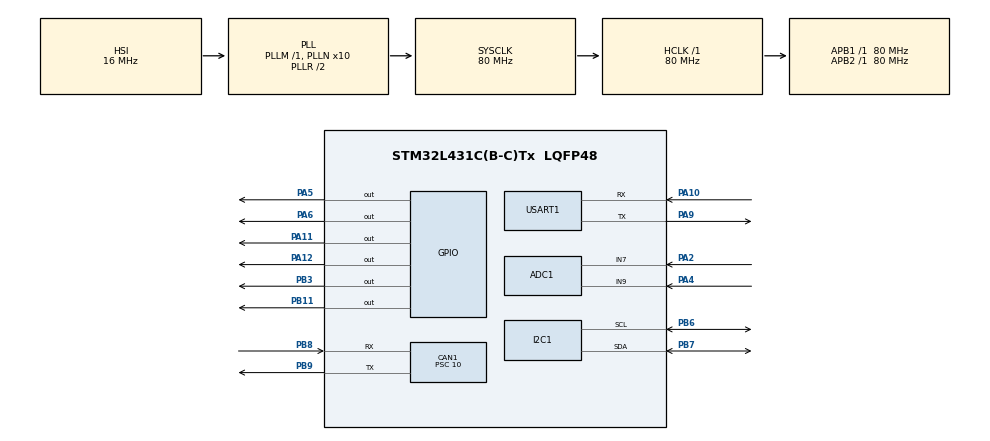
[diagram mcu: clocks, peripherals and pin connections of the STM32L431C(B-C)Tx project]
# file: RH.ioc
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ADC1.Channel-0\#ChannelRegularConversion=ADC_CHANNEL_9
ADC1.NbrOfConversionFlag=1
ADC1.OffsetNumber-0\#ChannelRegularConversion=ADC_OFFSET_NONE
ADC1.OversamplingMode=ENABLE
ADC1.Rank-0\#ChannelRegularConversion=1
ADC1.Ratio=ADC_OVERSAMPLING_RATIO_16
ADC1.RightBitShift=ADC_RIGHTBITSHIFT_4
ADC1.SamplingTime-0\#ChannelRegularConversion=ADC_SAMPLETIME_2CYCLES_5
ADC1.master=1
CAN1.ABOM=ENABLE
CAN1.AWUM=ENABLE
CAN1.BS1=CAN_BS1_12TQ
CAN1.BS2=CAN_BS2_3TQ
CAN1.CalculateBaudRate=500000
CAN1.CalculateTimeBit=2000
CAN1.CalculateTimeQuantum=125.0
CAN1.NART=ENABLE
CAN1.Prescaler=10
CAN1.TXFP=ENABLE
I2C1.Timing=0x10D19CE4
Mcu.Family=STM32L4
Mcu.Name=STM32L431C(B-C)Tx
Mcu.Package=LQFP48
NVIC.CAN1_RX0_IRQn=true\:0\:0\:false\:false\:true\:true\:true\:true
NVIC.CAN1_RX1_IRQn=true\:0\:0\:false\:false\:true\:true\:true\:true
NVIC.CAN1_SCE_IRQn=true\:0\:0\:false\:false\:true\:true\:true\:true
NVIC.CAN1_TX_IRQn=true\:0\:0\:false\:false\:true\:true\:true\:true
NVIC.PriorityGroup=NVIC_PRIORITYGROUP_4
NVIC.TIM2_IRQn=true\:0\:0\:false\:false\:true\:true\:true\:true
PA10.Mode=Asynchronous
PA10.Signal=USART1_RX
PA11.Signal=GPIO_Output
PA12.Signal=GPIO_Output
PA2.Signal=ADCx_IN7
PA4.Signal=ADCx_IN9
PA5.Signal=GPIO_Output
PA6.Signal=GPIO_Output
PA9.Mode=Asynchronous
PA9.Signal=USART1_TX
PB11.Signal=GPIO_Output
PB3\ (JTDO-TRACESWO).Signal=GPIO_Output
PB6.Mode=I2C
PB6.Signal=I2C1_SCL
PB7.Mode=I2C
PB7.Signal=I2C1_SDA
PB8.Mode=CAN_Activate
PB8.Signal=CAN1_RX
PB9.Mode=CAN_Activate
PB9.Signal=CAN1_TX
ProjectManager.HeapSize=0x200
ProjectManager.StackSize=0x400
ProjectManager.TargetToolchain=STM32CubeIDE
RCC.ADCFreq_Value=64000000
RCC.AHBFreq_Value=80000000
RCC.APB1Freq_Value=80000000
RCC.APB1TimFreq_Value=80000000
RCC.APB2Freq_Value=80000000
RCC.APB2TimFreq_Value=80000000
RCC.CortexFreq_Value=80000000
RCC.HCLKFreq_Value=80000000
RCC.HSE_VALUE=8000000
RCC.HSI48_VALUE=48000000
RCC.HSI_VALUE=16000000
RCC.LSE_VALUE=32768
RCC.MSI_VALUE=4000000
RCC.PLLN=10
RCC.PLLSourceVirtual=RCC_PLLSOURCE_HSI
RCC.SYSCLKFreq_VALUE=80000000
RCC.SYSCLKSource=RCC_SYSCLKSOURCE_PLLCLK
RCC.VCOOutputFreq_Value=160000000
SH.ADCx_IN7.0=ADC1_IN7,IN7-Single-Ended
SH.ADCx_IN9.0=ADC1_IN9,IN9-Single-Ended
TIM2.AutoReloadPreload=TIM_AUTORELOAD_PRELOAD_ENABLE
TIM2.Period=9
TIM2.Prescaler=3999
USART1.VirtualMode-Asynchronous=VM_ASYNC
VP_TIM2_VS_ClockSourceINT.Mode=Internal
board=custom

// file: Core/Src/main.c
/* USER CODE BEGIN Header */
/**
  ******************************************************************************
  * @file           : main.c
  * @brief          : Main program body
  ******************************************************************************
  * @attention
  *
  * Copyright (c) 2026 STMicroelectronics.
  * All rights reserved.
  *
  * This software is licensed under terms that can be found in the LICENSE file
  * in the root directory of this software component.
  * If no LICENSE file comes with this software, it is provided AS-IS.
  *
  ******************************************************************************
  */
/* USER CODE END Header */
#include "main.h"

/* USER CODE BEGIN Includes */
#include <stdio.h>
#include <string.h>
#include "vl53l0x_api.h"
#include "can_fifo.h"
/* USER CODE END Includes */

ADC_HandleTypeDef hadc1;

CAN_HandleTypeDef hcan1;

I2C_HandleTypeDef hi2c1;

TIM_HandleTypeDef htim2;

UART_HandleTypeDef huart1;

/* USER CODE BEGIN PV */
volatile uint8_t timer_10hz_flag = 0;

CircularFIFO my_fifo;

PackedCANMSG msg_buffer[64];
/* USER CODE END PV */

void SystemClock_Config(void);
static void MX_GPIO_Init(void);
static void MX_ADC1_Init(void);
static void MX_USART1_UART_Init(void);
static void MX_I2C1_Init(void);
static void MX_CAN1_Init(void);
static void MX_TIM2_Init(void);

int main(void)
{

  /* MCU Configuration--------------------------------------------------------*/

  /* Reset of all peripherals, Initializes the Flash interface and the Systick. */
  HAL_Init();

  /* Configure the system clock */
  SystemClock_Config();

  /* Initialize all configured peripherals */
  MX_GPIO_Init();
  MX_ADC1_Init();
  MX_USART1_UART_Init();
  MX_I2C1_Init();
  MX_CAN1_Init();
  MX_TIM2_Init();
  /* USER CODE BEGIN 2 */
  HAL_Delay(100);

  CAN_TxHeaderTypeDef txHeader;
  txHeader.StdId = 0x404;
  txHeader.IDE = CAN_ID_STD;
  txHeader.RTR = CAN_RTR_DATA; // Data frame (not remote)
  txHeader.DLC = 2; // 8 data bytes
  txHeader.TransmitGlobalTime = DISABLE; // TTCM disabled → must be DISABLE

  uint32_t txMailbox;
  PackedCANMSG pack;
  uint8_t dequeued = 0;

  VL53L0X_Dev_t MyDevice;
  VL53L0X_DEV Dev = &MyDevice;
  Dev->I2cDevAddr = 0x52;

  char msg[64];
  int len;

  len = sprintf(msg, "Initializing Sensor...\r\n");
  HAL_UART_Transmit(&huart1, (uint8_t*)msg, len, 100);

  VL53L0X_DataInit(Dev);
  VL53L0X_StaticInit(Dev);

  uint32_t refSpadCount;
  uint8_t isApertureSpads;
  uint8_t VhvSettings;
  uint8_t PhaseCal;

  VL53L0X_PerformRefSpadManagement(Dev, &refSpadCount, &isApertureSpads);
  VL53L0X_PerformRefCalibration(Dev, &VhvSettings, &PhaseCal);

  VL53L0X_SetMeasurementTimingBudgetMicroSeconds(Dev, 33000);
  VL53L0X_SetDeviceMode(Dev, VL53L0X_DEVICEMODE_CONTINUOUS_RANGING);
  VL53L0X_StartMeasurement(Dev);

  len = sprintf(msg, "VL53L0X Init Complete! Running at 10Hz.\r\n");
  HAL_UART_Transmit(&huart1, (uint8_t*)msg, len, 100);

  // Start the 10Hz timer

  fifo_init(&my_fifo, msg_buffer, 64);

  HAL_TIM_Base_Start_IT(&htim2);
  HAL_CAN_Start(&hcan1);

  CAN_FilterTypeDef filterConfig;
  filterConfig.FilterBank = 0;
  filterConfig.FilterMode = CAN_FILTERMODE_IDMASK;
  filterConfig.FilterScale = CAN_FILTERSCALE_32BIT;
  filterConfig.FilterIdHigh = 0x0000;
  filterConfig.FilterIdLow = 0x0000;
  filterConfig.FilterMaskIdHigh = 0x0000;
  filterConfig.FilterMaskIdLow = 0x0000;
  filterConfig.FilterFIFOAssignment = CAN_RX_FIFO0;
  filterConfig.FilterActivation = ENABLE;
  filterConfig.SlaveStartFilterBank = 14;

  HAL_CAN_ConfigFilter(&hcan1, &filterConfig);

  HAL_CAN_ActivateNotification(&hcan1, CAN_IT_RX_FIFO0_MSG_PENDING);

  HAL_NVIC_SetPriority(CAN1_RX0_IRQn, 0, 0);
  HAL_NVIC_EnableIRQ(CAN1_RX0_IRQn);

  /* USER CODE END 2 */

  /* Infinite loop */
  /* USER CODE BEGIN WHILE */
  while (1){
    if (timer_10hz_flag){
      timer_10hz_flag = 0;

      HAL_GPIO_TogglePin(GPIOB, GPIO_PIN_11);
      HAL_GPIO_TogglePin(GPIOA, GPIO_PIN_5);

      VL53L0X_RangingMeasurementData_t RangingData = {0};
      uint8_t dataReady = 0;
      uint32_t timeout_counter = 0;

      // Poll over I2C
      while (dataReady == 0 && timeout_counter < 60){
        VL53L0X_GetMeasurementDataReady(Dev, &dataReady);
        HAL_Delay(1);
        timeout_counter++;
      }
      if(dataReady){
        VL53L0X_GetRangingMeasurementData(Dev, &RangingData);

        pack.canData[0] = (RangingData.RangeMilliMeter >> 8) & 0xFF;
        pack.canData[1] = (RangingData.RangeMilliMeter) & 0xFF;
        fifo_enqueue(&my_fifo,pack);
      }
      VL53L0X_ClearInterruptMask(Dev, 0);
    }

     if(HAL_CAN_GetTxMailboxesFreeLevel(&hcan1) > 0){
      __disable_irq(); // Start Pause/section that would be cooked
      dequeued = 0;
      if(fifo_is_empty(&my_fifo) == 0){
        fifo_dequeue(&my_fifo, &pack);
        dequeued = 1;
      }
      __enable_irq(); // End section that would be cooked by race condition

      // Now this one can take however much time it needs to send out the data
      if(dequeued == 1){
        HAL_CAN_AddTxMessage(&hcan1, &txHeader, pack.canData , &txMailbox);
      }
    }

    // we want to turn on Error LED when buffer HAS data, but CAN isn't transmitting
    if(fifo_is_empty(&my_fifo) != 1 && HAL_CAN_GetTxMailboxesFreeLevel(&hcan1) == 0){
      // if you are here, the fifo is filling up, but CAN is stuck
      HAL_GPIO_WritePin(GPIOA, GPIO_PIN_12, GPIO_PIN_SET);
    }else{
      HAL_GPIO_WritePin(GPIOA, GPIO_PIN_12, GPIO_PIN_RESET);
    }
  }
}

void SystemClock_Config(void)
{
  RCC_OscInitTypeDef RCC_OscInitStruct = {0};
  RCC_ClkInitTypeDef RCC_ClkInitStruct = {0};

  /** Configure the main internal regulator output voltage
  */
  if (HAL_PWREx_ControlVoltageScaling(PWR_REGULATOR_VOLTAGE_SCALE1) != HAL_OK)
  {
    Error_Handler();
  }

  /** Initializes the RCC Oscillators according to the specified parameters
  * in the RCC_OscInitTypeDef structure.
  */
  RCC_OscInitStruct.OscillatorType = RCC_OSCILLATORTYPE_HSI;
  RCC_OscInitStruct.HSIState = RCC_HSI_ON;
  RCC_OscInitStruct.HSICalibrationValue = RCC_HSICALIBRATION_DEFAULT;
  RCC_OscInitStruct.PLL.PLLState = RCC_PLL_ON;
  RCC_OscInitStruct.PLL.PLLSource = RCC_PLLSOURCE_HSI;
  RCC_OscInitStruct.PLL.PLLM = 1;
  RCC_OscInitStruct.PLL.PLLN = 10;
  RCC_OscInitStruct.PLL.PLLP = RCC_PLLP_DIV7;
  RCC_OscInitStruct.PLL.PLLQ = RCC_PLLQ_DIV2;
  RCC_OscInitStruct.PLL.PLLR = RCC_PLLR_DIV2;
  if (HAL_RCC_OscConfig(&RCC_OscInitStruct) != HAL_OK)
  {
    Error_Handler();
  }

  /** Initializes the CPU, AHB and APB buses clocks
  */
  RCC_ClkInitStruct.ClockType = RCC_CLOCKTYPE_HCLK|RCC_CLOCKTYPE_SYSCLK
                              |RCC_CLOCKTYPE_PCLK1|RCC_CLOCKTYPE_PCLK2;
  RCC_ClkInitStruct.SYSCLKSource = RCC_SYSCLKSOURCE_PLLCLK;
  RCC_ClkInitStruct.AHBCLKDivider = RCC_SYSCLK_DIV1;
  RCC_ClkInitStruct.APB1CLKDivider = RCC_HCLK_DIV1;
  RCC_ClkInitStruct.APB2CLKDivider = RCC_HCLK_DIV1;

  if (HAL_RCC_ClockConfig(&RCC_ClkInitStruct, FLASH_LATENCY_4) != HAL_OK)
  {
    Error_Handler();
  }
}

static void MX_ADC1_Init(void)
{

  ADC_ChannelConfTypeDef sConfig = {0};

  /** Common config
  */
  hadc1.Instance = ADC1;
  hadc1.Init.ClockPrescaler = ADC_CLOCK_ASYNC_DIV1;
  hadc1.Init.Resolution = ADC_RESOLUTION_12B;
  hadc1.Init.DataAlign = ADC_DATAALIGN_RIGHT;
  hadc1.Init.ScanConvMode = ADC_SCAN_DISABLE;
  hadc1.Init.EOCSelection = ADC_EOC_SINGLE_CONV;
  hadc1.Init.LowPowerAutoWait = DISABLE;
  hadc1.Init.ContinuousConvMode = DISABLE;
  hadc1.Init.NbrOfConversion = 1;
  hadc1.Init.DiscontinuousConvMode = DISABLE;
  hadc1.Init.ExternalTrigConv = ADC_SOFTWARE_START;
  hadc1.Init.ExternalTrigConvEdge = ADC_EXTERNALTRIGCONVEDGE_NONE;
  hadc1.Init.DMAContinuousRequests = DISABLE;
  hadc1.Init.Overrun = ADC_OVR_DATA_PRESERVED;
  hadc1.Init.OversamplingMode = ENABLE;
  hadc1.Init.Oversampling.Ratio = ADC_OVERSAMPLING_RATIO_16;
  hadc1.Init.Oversampling.RightBitShift = ADC_RIGHTBITSHIFT_4;
  hadc1.Init.Oversampling.TriggeredMode = ADC_TRIGGEREDMODE_SINGLE_TRIGGER;
  hadc1.Init.Oversampling.OversamplingStopReset = ADC_REGOVERSAMPLING_CONTINUED_MODE;
  if (HAL_ADC_Init(&hadc1) != HAL_OK)
  {
    Error_Handler();
  }

  /** Configure Regular Channel
  */
  sConfig.Channel = ADC_CHANNEL_9;
  sConfig.Rank = ADC_REGULAR_RANK_1;
  sConfig.SamplingTime = ADC_SAMPLETIME_2CYCLES_5;
  sConfig.SingleDiff = ADC_SINGLE_ENDED;
  sConfig.OffsetNumber = ADC_OFFSET_NONE;
  sConfig.Offset = 0;
  if (HAL_ADC_ConfigChannel(&hadc1, &sConfig) != HAL_OK)
  {
    Error_Handler();
  }

}

static void MX_CAN1_Init(void)
{

  hcan1.Instance = CAN1;
  hcan1.Init.Prescaler = 10;
  hcan1.Init.Mode = CAN_MODE_NORMAL;
  hcan1.Init.SyncJumpWidth = CAN_SJW_1TQ;
  hcan1.Init.TimeSeg1 = CAN_BS1_12TQ;
  hcan1.Init.TimeSeg2 = CAN_BS2_3TQ;
  hcan1.Init.TimeTriggeredMode = DISABLE;
  hcan1.Init.AutoBusOff = ENABLE;
  hcan1.Init.AutoWakeUp = ENABLE;
  hcan1.Init.AutoRetransmission = ENABLE;
  hcan1.Init.ReceiveFifoLocked = DISABLE;
  hcan1.Init.TransmitFifoPriority = ENABLE;
  if (HAL_CAN_Init(&hcan1) != HAL_OK)
  {
    Error_Handler();
  }

}

static void MX_I2C1_Init(void)
{

  hi2c1.Instance = I2C1;
  hi2c1.Init.Timing = 0x10D19CE4;
  hi2c1.Init.OwnAddress1 = 0;
  hi2c1.Init.AddressingMode = I2C_ADDRESSINGMODE_7BIT;
  hi2c1.Init.DualAddressMode = I2C_DUALADDRESS_DISABLE;
  hi2c1.Init.OwnAddress2 = 0;
  hi2c1.Init.OwnAddress2Masks = I2C_OA2_NOMASK;
  hi2c1.Init.GeneralCallMode = I2C_GENERALCALL_DISABLE;
  hi2c1.Init.NoStretchMode = I2C_NOSTRETCH_DISABLE;
  if (HAL_I2C_Init(&hi2c1) != HAL_OK)
  {
    Error_Handler();
  }

  /** Configure Analogue filter
  */
  if (HAL_I2CEx_ConfigAnalogFilter(&hi2c1, I2C_ANALOGFILTER_ENABLE) != HAL_OK)
  {
    Error_Handler();
  }

  /** Configure Digital filter
  */
  if (HAL_I2CEx_ConfigDigitalFilter(&hi2c1, 0) != HAL_OK)
  {
    Error_Handler();
  }

}

static void MX_TIM2_Init(void)
{

  TIM_ClockConfigTypeDef sClockSourceConfig = {0};
  TIM_MasterConfigTypeDef sMasterConfig = {0};

  htim2.Instance = TIM2;
  htim2.Init.Prescaler = 7999;
  htim2.Init.CounterMode = TIM_COUNTERMODE_UP;
  htim2.Init.Period = 332;
  htim2.Init.ClockDivision = TIM_CLOCKDIVISION_DIV1;
  htim2.Init.AutoReloadPreload = TIM_AUTORELOAD_PRELOAD_ENABLE;
  if (HAL_TIM_Base_Init(&htim2) != HAL_OK)
  {
    Error_Handler();
  }
  sClockSourceConfig.ClockSource = TIM_CLOCKSOURCE_INTERNAL;
  if (HAL_TIM_ConfigClockSource(&htim2, &sClockSourceConfig) != HAL_OK)
  {
    Error_Handler();
  }
  sMasterConfig.MasterOutputTrigger = TIM_TRGO_RESET;
  sMasterConfig.MasterSlaveMode = TIM_MASTERSLAVEMODE_DISABLE;
  if (HAL_TIMEx_MasterConfigSynchronization(&htim2, &sMasterConfig) != HAL_OK)
  {
    Error_Handler();
  }

}

static void MX_USART1_UART_Init(void)
{

  huart1.Instance = USART1;
  huart1.Init.BaudRate = 115200;
  huart1.Init.WordLength = UART_WORDLENGTH_8B;
  huart1.Init.StopBits = UART_STOPBITS_1;
  huart1.Init.Parity = UART_PARITY_NONE;
  huart1.Init.Mode = UART_MODE_TX_RX;
  huart1.Init.HwFlowCtl = UART_HWCONTROL_NONE;
  huart1.Init.OverSampling = UART_OVERSAMPLING_16;
  huart1.Init.OneBitSampling = UART_ONE_BIT_SAMPLE_DISABLE;
  huart1.AdvancedInit.AdvFeatureInit = UART_ADVFEATURE_NO_INIT;
  if (HAL_UART_Init(&huart1) != HAL_OK)
  {
    Error_Handler();
  }

}

static void MX_GPIO_Init(void)
{
  GPIO_InitTypeDef GPIO_InitStruct = {0};

  /* GPIO Ports Clock Enable */
  __HAL_RCC_GPIOA_CLK_ENABLE();
  __HAL_RCC_GPIOB_CLK_ENABLE();

  /*Configure GPIO pin Output Level */
  HAL_GPIO_WritePin(GPIOA, GPIO_PIN_5|GPIO_PIN_6|GPIO_PIN_11|GPIO_PIN_12, GPIO_PIN_RESET);

  /*Configure GPIO pin Output Level */
  HAL_GPIO_WritePin(GPIOB, GPIO_PIN_11|GPIO_PIN_3, GPIO_PIN_RESET);

  /*Configure GPIO pins : PA5 PA6 PA11 PA12 */
  GPIO_InitStruct.Pin = GPIO_PIN_5|GPIO_PIN_6|GPIO_PIN_11|GPIO_PIN_12;
  GPIO_InitStruct.Mode = GPIO_MODE_OUTPUT_PP;
  GPIO_InitStruct.Pull = GPIO_NOPULL;
  GPIO_InitStruct.Speed = GPIO_SPEED_FREQ_LOW;
  HAL_GPIO_Init(GPIOA, &GPIO_InitStruct);

  /*Configure GPIO pins : PB11 PB3 */
  GPIO_InitStruct.Pin = GPIO_PIN_11|GPIO_PIN_3;
  GPIO_InitStruct.Mode = GPIO_MODE_OUTPUT_PP;
  GPIO_InitStruct.Pull = GPIO_NOPULL;
  GPIO_InitStruct.Speed = GPIO_SPEED_FREQ_LOW;
  HAL_GPIO_Init(GPIOB, &GPIO_InitStruct);

}

/* USER CODE BEGIN 4 */
/**
  * @brief  Timer period elapsed callback — fires at 10 Hz from TIM2.
  */
void HAL_TIM_PeriodElapsedCallback(TIM_HandleTypeDef *htim)
{
  if (htim->Instance == TIM2)
  {
    timer_10hz_flag = 1;
  }
}
/* USER CODE END 4 */

void Error_Handler(void)
{
  __disable_irq();
  while (1)
  {
  }
}
